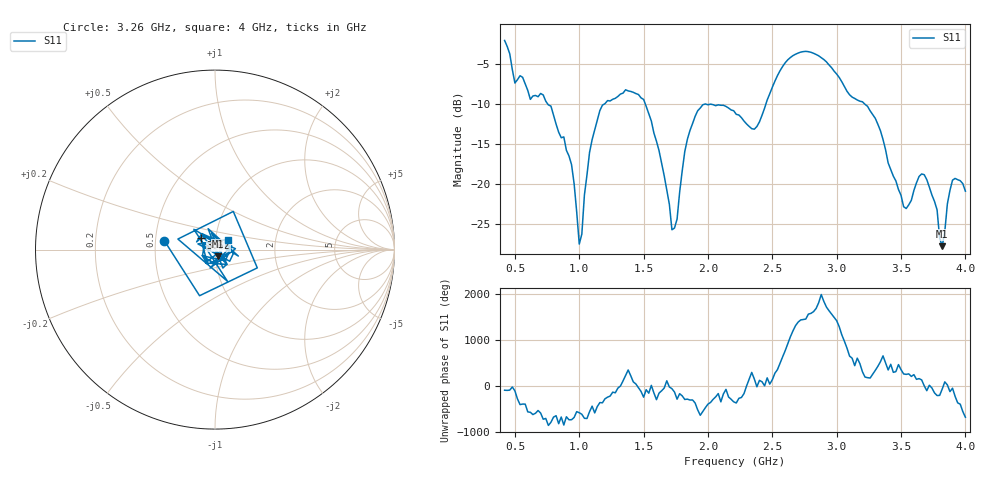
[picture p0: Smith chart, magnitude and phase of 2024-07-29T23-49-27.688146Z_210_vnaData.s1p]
!Created with skrf (http://scikit-rf.org).
# Hz S RI R 50.0
!freq ReS11 ImS11
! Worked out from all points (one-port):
!   180 points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, 420 MHz to 4 GHz, reference 50 ohm
!   lowest |S11| = -27.8 dB at 3.82 GHz (marker M1), VSWR 1.08, Z = 51.4 - j3.9 ohm
!   |S11| at or under -10 dB: 754.6 MHz to 1.197 GHz (442 MHz wide, 45.3 % of centre); 1.513 GHz to 2.45 GHz (937.5 MHz wide, 47.3 % of centre); 3.217 GHz to end of sweep
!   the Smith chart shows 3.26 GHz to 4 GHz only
!   S11 on the Smith chart (normalised r, x): 3.26 GHz: 0.56, +0.06; 3.62 GHz: 0.85, +0.11; 4 GHz: 1.14, +0.13
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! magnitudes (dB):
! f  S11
! 420 MHz  -2.1
! 500 MHz  -7.4
! 720 MHz  -8.9
! 880 MHz  -14.1
! 940 MHz  -17.6
! 1 GHz  -27.5
! 1.08 GHz  -16.1
! 1.14 GHz  -12.0
! 1.32 GHz  -8.8
! 1.5 GHz  -9.4
! 1.62 GHz  -15.9
! 1.72 GHz  -25.8
! 1.76 GHz  -24.4
! 1.78 GHz  -21.0
! 1.84 GHz  -14.4
! 1.92 GHz  -10.9
! 2.22 GHz  -11.3
! 2.38 GHz  -12.8
! 2.66 GHz  -4.0
! 2.86 GHz  -4.0
! 3.12 GHz  -9.1
! 3.26 GHz  -10.9
! 3.56 GHz  -22.6
! 3.62 GHz  -19.9
! 3.7 GHz  -19.5
! 3.82 GHz  -27.8
! 3.9 GHz  -19.5
! 4 GHz  -20.9
